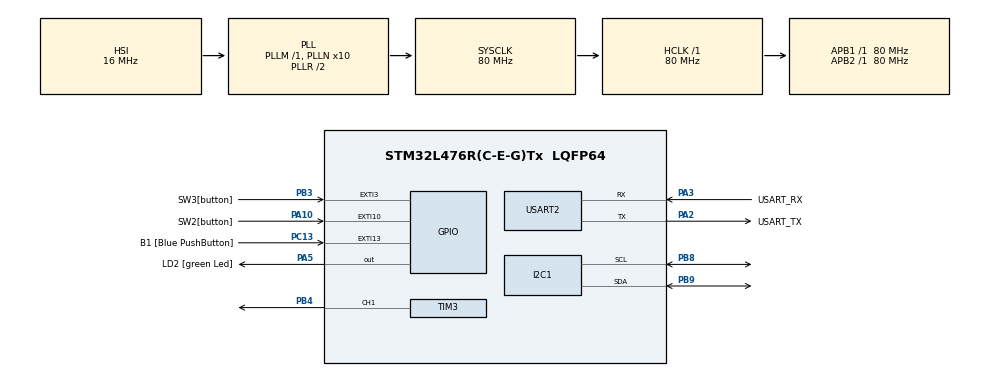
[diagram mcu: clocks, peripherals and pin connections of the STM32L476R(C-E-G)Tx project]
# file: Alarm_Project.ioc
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FREERTOS.Tasks01=defaultTask,24,128,StartDefaultTask,Default,NULL,Dynamic,NULL,NULL;LED_TASK,24,256,led_func,As weak,&led,Dynamic,NULL,NULL;COMTASK,24,512,comtask_func,As weak,NULL,Dynamic,NULL,NULL;BUZZER_TASK,24,256,buzzer_func,As weak,NULL,Dynamic,NULL,NULL;ALARM_TASK,24,256,alarm_func,As weak,NULL,Dynamic,NULL,NULL
FREERTOS.configTOTAL_HEAP_SIZE=8000
I2C1.Timing=0x10909CEC
Mcu.Family=STM32L4
Mcu.Name=STM32L476R(C-E-G)Tx
Mcu.Package=LQFP64
NVIC.EXTI15_10_IRQn=true\:5\:0\:false\:false\:true\:true\:true\:true\:true
NVIC.FLASH_IRQn=true\:5\:0\:false\:false\:true\:true\:true\:true\:true
NVIC.FPU_IRQn=true\:5\:0\:false\:false\:true\:true\:true\:false\:true
NVIC.PriorityGroup=NVIC_PRIORITYGROUP_4
NVIC.TIM1_UP_TIM16_IRQn=true\:15\:0\:false\:false\:true\:false\:false\:true\:true
NVIC.TIM3_IRQn=true\:5\:0\:false\:false\:true\:true\:true\:true\:true
NVIC.TimeBase=TIM1_UP_TIM16_IRQn
NVIC.TimeBaseIP=TIM16
NVIC.USART2_IRQn=true\:5\:0\:false\:false\:true\:true\:true\:true\:true
PA10.GPIO_Label=SW2[button]
PA10.Signal=GPXTI10
PA13\ (JTMS-SWDIO).GPIO_Label=TMS
PA13\ (JTMS-SWDIO).Mode=Serial_Wire
PA13\ (JTMS-SWDIO).Signal=SYS_JTMS-SWDIO
PA14\ (JTCK-SWCLK).GPIO_Label=TCK
PA14\ (JTCK-SWCLK).Mode=Serial_Wire
PA14\ (JTCK-SWCLK).Signal=SYS_JTCK-SWCLK
PA2.GPIO_Label=USART_TX
PA2.GPIO_Mode=GPIO_MODE_AF_PP
PA2.GPIO_PuPd=GPIO_NOPULL
PA2.GPIO_Speed=GPIO_SPEED_FREQ_VERY_HIGH
PA2.Mode=Asynchronous
PA2.Signal=USART2_TX
PA3.GPIO_Label=USART_RX
PA3.GPIO_Mode=GPIO_MODE_AF_PP
PA3.GPIO_PuPd=GPIO_NOPULL
PA3.GPIO_Speed=GPIO_SPEED_FREQ_VERY_HIGH
PA3.Mode=Asynchronous
PA3.Signal=USART2_RX
PA5.GPIO_Label=LD2 [green Led]
PA5.GPIO_ModeDefaultOutputPP=GPIO_MODE_OUTPUT_PP
PA5.GPIO_PuPd=GPIO_NOPULL
PA5.GPIO_Speed=GPIO_SPEED_FREQ_LOW
PA5.Signal=GPIO_Output
PB3\ (JTDO-TRACESWO).GPIO_Label=SW3[button]
PB3\ (JTDO-TRACESWO).Signal=GPXTI3
PB4\ (NJTRST).Signal=S_TIM3_CH1
PB8.Mode=I2C
PB8.Signal=I2C1_SCL
PB9.Mode=I2C
PB9.Signal=I2C1_SDA
PC13.GPIO_Label=B1 [Blue PushButton]
PC13.GPIO_ModeDefaultEXTI=GPIO_MODE_IT_FALLING
PC13.GPIO_PuPd=GPIO_NOPULL
PC13.Signal=GPXTI13
PC14-OSC32_IN\ (PC14).Mode=LSE-External-Oscillator
PC14-OSC32_IN\ (PC14).Signal=RCC_OSC32_IN
PC15-OSC32_OUT\ (PC15).Mode=LSE-External-Oscillator
PC15-OSC32_OUT\ (PC15).Signal=RCC_OSC32_OUT
PH0-OSC_IN\ (PH0).Signal=RCC_OSC_IN
PH1-OSC_OUT\ (PH1).Signal=RCC_OSC_OUT
ProjectManager.HeapSize=0x200
ProjectManager.StackSize=0x400
ProjectManager.TargetToolchain=STM32CubeIDE
RCC.ADCFreq_Value=64000000
RCC.AHBFreq_Value=80000000
RCC.APB1Freq_Value=80000000
RCC.APB1TimFreq_Value=80000000
RCC.APB2Freq_Value=80000000
RCC.APB2TimFreq_Value=80000000
RCC.CortexFreq_Value=80000000
RCC.HCLKFreq_Value=80000000
RCC.HSE_VALUE=8000000
RCC.HSI_VALUE=16000000
RCC.MSI_VALUE=4000000
RCC.PLLN=10
RCC.PLLSourceVirtual=RCC_PLLSOURCE_HSI
RCC.PREFETCH_ENABLE=1
RCC.SYSCLKFreq_VALUE=80000000
RCC.SYSCLKSource=RCC_SYSCLKSOURCE_PLLCLK
RCC.USBFreq_Value=64000000
RCC.VCOOutputFreq_Value=160000000
SH.S_TIM3_CH1.0=TIM3_CH1,PWM Generation1 CH1
TIM3.Channel-PWM\ Generation1\ CH1=TIM_CHANNEL_1
TIM3.Prescaler=799
USART2.VirtualMode-Asynchronous=VM_ASYNC
VP_FREERTOS_VS_CMSIS_V2.Mode=CMSIS_V2
VP_SYS_VS_tim16.Mode=TIM16
board=NUCLEO-L476RG

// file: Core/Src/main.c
/* USER CODE BEGIN Header */
/**
  ******************************************************************************
  * @file           : main.c
  * @brief          : Main program body
  ******************************************************************************
  * @attention
  *
  * Copyright (c) 2022 STMicroelectronics.
  * All rights reserved.
  *
  * This software is licensed under terms that can be found in the LICENSE file
  * in the root directory of this software component.
  * If no LICENSE file comes with this software, it is provided AS-IS.
  *
  ******************************************************************************
  */
/* USER CODE END Header */
#include "main.h"
#include "cmsis_os.h"

/* USER CODE BEGIN Includes */
#include <stdint.h>
#include <stdio.h>
#include <string.h>
#include <stdlib.h>
#include "mymain.h"
#include "Alarm.h"
#include "comtask.h"
#include "mybuzzer.h"
#include "LED.h"
#include "Rtc.h"
/* USER CODE END Includes */

 I2C_HandleTypeDef hi2c1;

TIM_HandleTypeDef htim3;

UART_HandleTypeDef huart2;

/* Definitions for defaultTask */
osThreadId_t defaultTaskHandle;
const osThreadAttr_t defaultTask_attributes = {
  .name = "defaultTask",
  .stack_size = 128 * 4,
  .priority = (osPriority_t) osPriorityNormal,
};
/* Definitions for LED_TASK */
osThreadId_t LED_TASKHandle;
const osThreadAttr_t LED_TASK_attributes = {
  .name = "LED_TASK",
  .stack_size = 256 * 4,
  .priority = (osPriority_t) osPriorityNormal,
};
/* Definitions for COMTASK */
osThreadId_t COMTASKHandle;
const osThreadAttr_t COMTASK_attributes = {
  .name = "COMTASK",
  .stack_size = 512 * 4,
  .priority = (osPriority_t) osPriorityNormal,
};
/* Definitions for BUZZER_TASK */
osThreadId_t BUZZER_TASKHandle;
const osThreadAttr_t BUZZER_TASK_attributes = {
  .name = "BUZZER_TASK",
  .stack_size = 256 * 4,
  .priority = (osPriority_t) osPriorityNormal,
};
/* Definitions for ALARM_TASK */
osThreadId_t ALARM_TASKHandle;
const osThreadAttr_t ALARM_TASK_attributes = {
  .name = "ALARM_TASK",
  .stack_size = 256 * 4,
  .priority = (osPriority_t) osPriorityNormal,
};

void SystemClock_Config(void);
static void MX_GPIO_Init(void);
static void MX_USART2_UART_Init(void);
static void MX_TIM3_Init(void);
static void MX_I2C1_Init(void);
void StartDefaultTask(void *argument);
void led_func(void *argument);
void comtask_func(void *argument);
void buzzer_func(void *argument);
void alarm_func(void *argument);

/* USER CODE BEGIN 0 */
extern LED led;
int song[] = {
		NOTE_5,NOTE_1,NOTE_3,NOTE_4,
		NOTE_5,NOTE_1,NOTE_3,NOTE_4,
		NOTE_5,NOTE_1,NOTE_3,NOTE_4,
		NOTE_5,NOTE_1,NOTE_3,NOTE_4,
		NOTE_5,NOTE_1,NOTE_3,NOTE_4,
		NOTE_5,NOTE_1,NOTE_3,NOTE_4,
		NOTE_5,NOTE_1,NOTE_3,NOTE_4,
		NOTE_5,NOTE_1,NOTE_3,NOTE_4,
		NOTE_3,NOTE_3,
		NOTE_1,NOTE_1,
		NOTE_3,NOTE_4,NOTE_5,
		NOTE_1,NOTE_3,NOTE_4,
		NOTE_2,NOTE_2,
		NOTE_2,NOTE_2,
		NOTE_2,NOTE_2,
		NOTE_2,NOTE_2,
		NOTE_4,NOTE_4,
		NOTE_1,NOTE_1,
		NOTE_3,NOTE_2,NOTE_4,
		NOTE_4,NOTE_4,
		NOTE_1,NOTE_1,
		NOTE_3,NOTE_2,NOTE_4,
		NOTE_1,NOTE_1,
		NOTE_3,NOTE_2,NOTE_1,
		NOTE_1,NOTE_1,
		NOTE_1,NOTE_1,
		NOTE_1,NOTE_1,
		NOTE_7,NOTE_7,
		NOTE_1,NOTE_1,
		NOTE_2,NOTE_4,NOTE_7,
		NOTE_1,NOTE_3,NOTE_4,
		NOTE_2,NOTE_2,
		NOTE_2,NOTE_2,
		NOTE_2,NOTE_2,
		NOTE_2,NOTE_2,
		NOTE_4,NOTE_4,
		NOTE_1,NOTE_1,
		NOTE_3,NOTE_2,NOTE_4,
		NOTE_4,NOTE_4,
		NOTE_1,NOTE_1,
		NOTE_3,NOTE_2,NOTE_4,
		NOTE_1,NOTE_1,
		NOTE_3,NOTE_2,NOTE_1,
		NOTE_1,NOTE_1,
		NOTE_1,NOTE_1,
		NOTE_1,NOTE_1,
		NOTE_7,NOTE_7,
		NOTE_1,NOTE_1,
		NOTE_2,NOTE_4,NOTE_7,
		0
	};
int length[]={
		FRAME_1,FRAME_1,FRAME_2,FRAME_2,
		FRAME_1,FRAME_1,FRAME_2,FRAME_2,
		FRAME_1,FRAME_1,FRAME_2,FRAME_2,
		FRAME_1,FRAME_1,FRAME_2,FRAME_2,
		FRAME_1,FRAME_1,FRAME_2,FRAME_2,
		FRAME_1,FRAME_1,FRAME_2,FRAME_2,
		FRAME_1,FRAME_1,FRAME_2,FRAME_2,
		FRAME_1,FRAME_1,FRAME_2,FRAME_2,
		FRAME_0,FRAME_1,
		FRAME_0,FRAME_1,
		FRAME_2,FRAME_2,FRAME_0,
		FRAME_0,FRAME_2,FRAME_2,
		FRAME_0,FRAME_1,
		FRAME_0,FRAME_1,
		FRAME_0,FRAME_1,
		FRAME_0,FRAME_1,
		FRAME_0,FRAME_1,
		FRAME_0,FRAME_1,
		FRAME_2,FRAME_2,FRAME_0,
		FRAME_0,FRAME_1,
		FRAME_0,FRAME_1,
		FRAME_2,FRAME_2,FRAME_0,
		FRAME_0,FRAME_1,
		FRAME_2,FRAME_2,FRAME_0,
		FRAME_0,FRAME_1,
		FRAME_0,FRAME_1,
		FRAME_0,FRAME_1,
		FRAME_0,FRAME_1,
		FRAME_0,FRAME_1,
		FRAME_2,FRAME_2,FRAME_0,
		FRAME_0,FRAME_2,FRAME_2,
		FRAME_0,FRAME_1,
		FRAME_0,FRAME_1,
		FRAME_0,FRAME_1,
		FRAME_0,FRAME_1,
		FRAME_0,FRAME_1,
		FRAME_0,FRAME_1,
		FRAME_2,FRAME_2,FRAME_0,
		FRAME_0,FRAME_1,
		FRAME_0,FRAME_1,
		FRAME_2,FRAME_2,FRAME_0,
		FRAME_0,FRAME_1,
		FRAME_2,FRAME_2,FRAME_0,
		FRAME_0,FRAME_1,
		FRAME_0,FRAME_1,
		FRAME_0,FRAME_1,
		FRAME_0,FRAME_1,
		FRAME_0,FRAME_1,
		FRAME_2,FRAME_2,FRAME_0,
		0
};
/* USER CODE END 0 */

int main(void)
{

  /* MCU Configuration--------------------------------------------------------*/

  /* Reset of all peripherals, Initializes the Flash interface and the Systick. */
  HAL_Init();

  /* Configure the system clock */
  SystemClock_Config();

  /* Initialize all configured peripherals */
  MX_GPIO_Init();
  MX_USART2_UART_Init();
  MX_TIM3_Init();
  MX_I2C1_Init();
  /* USER CODE BEGIN 2 */
   mymaininit();
  /* USER CODE END 2 */

  /* Init scheduler */
  osKernelInitialize();

  /* Create the thread(s) */
  /* creation of defaultTask */
  defaultTaskHandle = osThreadNew(StartDefaultTask, NULL, &defaultTask_attributes);

  /* creation of LED_TASK */
  LED_TASKHandle = osThreadNew(led_func, (void*) &led, &LED_TASK_attributes);

  /* creation of COMTASK */
  COMTASKHandle = osThreadNew(comtask_func, NULL, &COMTASK_attributes);

  /* creation of BUZZER_TASK */
  BUZZER_TASKHandle = osThreadNew(buzzer_func, NULL, &BUZZER_TASK_attributes);

  /* creation of ALARM_TASK */
  ALARM_TASKHandle = osThreadNew(alarm_func, NULL, &ALARM_TASK_attributes);

  /* Start scheduler */
  osKernelStart();

  /* We should never get here as control is now taken by the scheduler */
  /* Infinite loop */
  while (1)
  {

  }
}

void SystemClock_Config(void)
{
  RCC_OscInitTypeDef RCC_OscInitStruct = {0};
  RCC_ClkInitTypeDef RCC_ClkInitStruct = {0};

  /** Configure the main internal regulator output voltage
  */
  if (HAL_PWREx_ControlVoltageScaling(PWR_REGULATOR_VOLTAGE_SCALE1) != HAL_OK)
  {
    Error_Handler();
  }

  /** Initializes the RCC Oscillators according to the specified parameters
  * in the RCC_OscInitTypeDef structure.
  */
  RCC_OscInitStruct.OscillatorType = RCC_OSCILLATORTYPE_HSI;
  RCC_OscInitStruct.HSIState = RCC_HSI_ON;
  RCC_OscInitStruct.HSICalibrationValue = RCC_HSICALIBRATION_DEFAULT;
  RCC_OscInitStruct.PLL.PLLState = RCC_PLL_ON;
  RCC_OscInitStruct.PLL.PLLSource = RCC_PLLSOURCE_HSI;
  RCC_OscInitStruct.PLL.PLLM = 1;
  RCC_OscInitStruct.PLL.PLLN = 10;
  RCC_OscInitStruct.PLL.PLLP = RCC_PLLP_DIV7;
  RCC_OscInitStruct.PLL.PLLQ = RCC_PLLQ_DIV2;
  RCC_OscInitStruct.PLL.PLLR = RCC_PLLR_DIV2;
  if (HAL_RCC_OscConfig(&RCC_OscInitStruct) != HAL_OK)
  {
    Error_Handler();
  }

  /** Initializes the CPU, AHB and APB buses clocks
  */
  RCC_ClkInitStruct.ClockType = RCC_CLOCKTYPE_HCLK|RCC_CLOCKTYPE_SYSCLK
                              |RCC_CLOCKTYPE_PCLK1|RCC_CLOCKTYPE_PCLK2;
  RCC_ClkInitStruct.SYSCLKSource = RCC_SYSCLKSOURCE_PLLCLK;
  RCC_ClkInitStruct.AHBCLKDivider = RCC_SYSCLK_DIV1;
  RCC_ClkInitStruct.APB1CLKDivider = RCC_HCLK_DIV1;
  RCC_ClkInitStruct.APB2CLKDivider = RCC_HCLK_DIV1;

  if (HAL_RCC_ClockConfig(&RCC_ClkInitStruct, FLASH_LATENCY_4) != HAL_OK)
  {
    Error_Handler();
  }
}

static void MX_I2C1_Init(void)
{

  hi2c1.Instance = I2C1;
  hi2c1.Init.Timing = 0x10909CEC;
  hi2c1.Init.OwnAddress1 = 0;
  hi2c1.Init.AddressingMode = I2C_ADDRESSINGMODE_7BIT;
  hi2c1.Init.DualAddressMode = I2C_DUALADDRESS_DISABLE;
  hi2c1.Init.OwnAddress2 = 0;
  hi2c1.Init.OwnAddress2Masks = I2C_OA2_NOMASK;
  hi2c1.Init.GeneralCallMode = I2C_GENERALCALL_DISABLE;
  hi2c1.Init.NoStretchMode = I2C_NOSTRETCH_DISABLE;
  if (HAL_I2C_Init(&hi2c1) != HAL_OK)
  {
    Error_Handler();
  }

  /** Configure Analogue filter
  */
  if (HAL_I2CEx_ConfigAnalogFilter(&hi2c1, I2C_ANALOGFILTER_ENABLE) != HAL_OK)
  {
    Error_Handler();
  }

  /** Configure Digital filter
  */
  if (HAL_I2CEx_ConfigDigitalFilter(&hi2c1, 0) != HAL_OK)
  {
    Error_Handler();
  }

}

static void MX_TIM3_Init(void)
{

  TIM_MasterConfigTypeDef sMasterConfig = {0};
  TIM_OC_InitTypeDef sConfigOC = {0};

  htim3.Instance = TIM3;
  htim3.Init.Prescaler = 799;
  htim3.Init.CounterMode = TIM_COUNTERMODE_UP;
  htim3.Init.Period = 65535;
  htim3.Init.ClockDivision = TIM_CLOCKDIVISION_DIV1;
  htim3.Init.AutoReloadPreload = TIM_AUTORELOAD_PRELOAD_DISABLE;
  if (HAL_TIM_PWM_Init(&htim3) != HAL_OK)
  {
    Error_Handler();
  }
  sMasterConfig.MasterOutputTrigger = TIM_TRGO_RESET;
  sMasterConfig.MasterSlaveMode = TIM_MASTERSLAVEMODE_DISABLE;
  if (HAL_TIMEx_MasterConfigSynchronization(&htim3, &sMasterConfig) != HAL_OK)
  {
    Error_Handler();
  }
  sConfigOC.OCMode = TIM_OCMODE_PWM1;
  sConfigOC.Pulse = 0;
  sConfigOC.OCPolarity = TIM_OCPOLARITY_HIGH;
  sConfigOC.OCFastMode = TIM_OCFAST_DISABLE;
  if (HAL_TIM_PWM_ConfigChannel(&htim3, &sConfigOC, TIM_CHANNEL_1) != HAL_OK)
  {
    Error_Handler();
  }
  HAL_TIM_MspPostInit(&htim3);

}

static void MX_USART2_UART_Init(void)
{

  huart2.Instance = USART2;
  huart2.Init.BaudRate = 115200;
  huart2.Init.WordLength = UART_WORDLENGTH_8B;
  huart2.Init.StopBits = UART_STOPBITS_1;
  huart2.Init.Parity = UART_PARITY_NONE;
  huart2.Init.Mode = UART_MODE_TX_RX;
  huart2.Init.HwFlowCtl = UART_HWCONTROL_NONE;
  huart2.Init.OverSampling = UART_OVERSAMPLING_16;
  huart2.Init.OneBitSampling = UART_ONE_BIT_SAMPLE_DISABLE;
  huart2.AdvancedInit.AdvFeatureInit = UART_ADVFEATURE_NO_INIT;
  if (HAL_UART_Init(&huart2) != HAL_OK)
  {
    Error_Handler();
  }

}

static void MX_GPIO_Init(void)
{
  GPIO_InitTypeDef GPIO_InitStruct = {0};

  /* GPIO Ports Clock Enable */
  __HAL_RCC_GPIOC_CLK_ENABLE();
  __HAL_RCC_GPIOH_CLK_ENABLE();
  __HAL_RCC_GPIOA_CLK_ENABLE();
  __HAL_RCC_GPIOB_CLK_ENABLE();

  /*Configure GPIO pin Output Level */
  HAL_GPIO_WritePin(LD2_GPIO_Port, LD2_Pin, GPIO_PIN_RESET);

  /*Configure GPIO pin : B1_Pin */
  GPIO_InitStruct.Pin = B1_Pin;
  GPIO_InitStruct.Mode = GPIO_MODE_IT_FALLING;
  GPIO_InitStruct.Pull = GPIO_NOPULL;
  HAL_GPIO_Init(B1_GPIO_Port, &GPIO_InitStruct);

  /*Configure GPIO pin : LD2_Pin */
  GPIO_InitStruct.Pin = LD2_Pin;
  GPIO_InitStruct.Mode = GPIO_MODE_OUTPUT_PP;
  GPIO_InitStruct.Pull = GPIO_NOPULL;
  GPIO_InitStruct.Speed = GPIO_SPEED_FREQ_LOW;
  HAL_GPIO_Init(LD2_GPIO_Port, &GPIO_InitStruct);

  /*Configure GPIO pin : SW2_Pin */
  GPIO_InitStruct.Pin = SW2_Pin;
  GPIO_InitStruct.Mode = GPIO_MODE_IT_RISING;
  GPIO_InitStruct.Pull = GPIO_NOPULL;
  HAL_GPIO_Init(SW2_GPIO_Port, &GPIO_InitStruct);

  /*Configure GPIO pin : SW3_Pin */
  GPIO_InitStruct.Pin = SW3_Pin;
  GPIO_InitStruct.Mode = GPIO_MODE_IT_RISING;
  GPIO_InitStruct.Pull = GPIO_NOPULL;
  HAL_GPIO_Init(SW3_GPIO_Port, &GPIO_InitStruct);

  /* EXTI interrupt init*/
  HAL_NVIC_SetPriority(EXTI15_10_IRQn, 5, 0);
  HAL_NVIC_EnableIRQ(EXTI15_10_IRQn);

}

void StartDefaultTask(void *argument)
{
  for(;;)
  {
    osDelay(1);
  }
}

__weak void led_func(void *argument)
{
  for(;;)
  {
    osDelay(1);
  }
}

__weak void comtask_func(void *argument)
{
  for(;;)
  {
    osDelay(1);
  }
}

__weak void buzzer_func(void *argument)
{
  for(;;)
  {
    osDelay(1);
  }
}

__weak void alarm_func(void *argument)
{
  for(;;)
  {
    osDelay(1);
  }
}

void HAL_TIM_PeriodElapsedCallback(TIM_HandleTypeDef *htim)
{
  if (htim->Instance == TIM16) {
    HAL_IncTick();
  }
}

void Error_Handler(void)
{
  __disable_irq();
  while (1)
  {
  }
}
